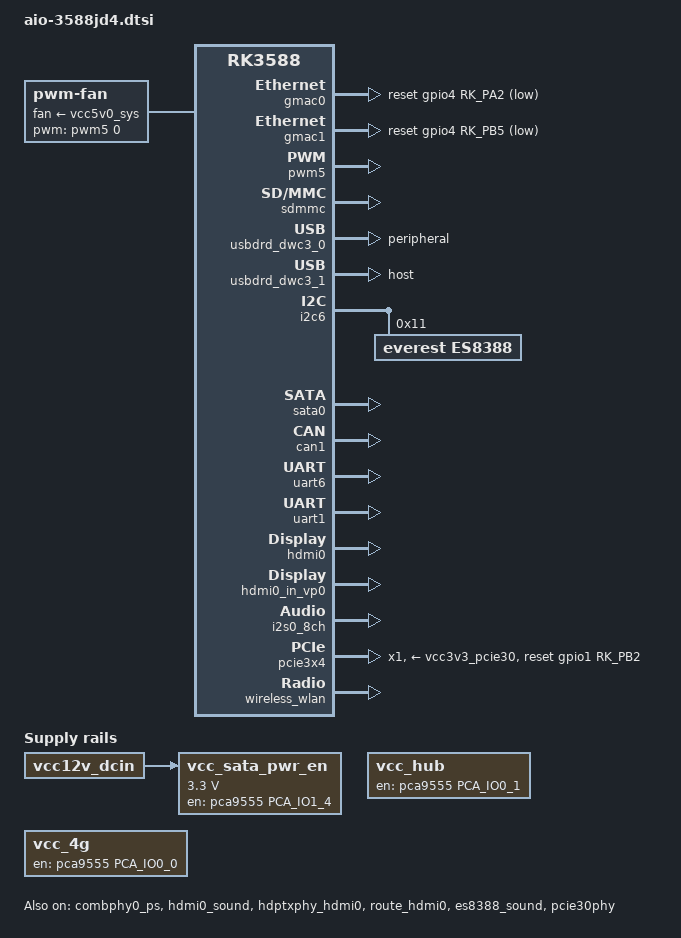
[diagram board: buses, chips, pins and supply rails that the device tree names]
// SPDX-License-Identifier: (GPL-2.0+ OR MIT)
/*
 * Copyright (c) 2021 Rockchip Electronics Co., Ltd.
 *
 */

 #define rk3588
 #include "rk3588-firefly-port-aio-3588jd4.dtsi"
 #include "rk3588-diff-aio-3588jd4.dtsi"


#define M2_SATA_OR_PCIE	1 /*1 = SATA , 0 = PCIe */

 / {
/* led */
	firefly_leds: leds {
		pinctrl-names = "default";
		pinctrl-0 =<&leds_gpio>;
		power_led: power {
			gpios = <&gpio0 RK_PC4 GPIO_ACTIVE_HIGH>;//green led
            default-state = "on";
		};

		user_led: user {
			gpios = <&pca9555 PCA_IO0_3 GPIO_ACTIVE_HIGH>; //yellow led
            default-state = "off";
		};
	};

    fan: pwm-fan {
		compatible = "pwm-fan";
		#cooling-cells = <2>;
		fan-supply = <&vcc5v0_sys>;
		pwms = <&pwm5 0 50000 0>;
		cooling-levels = <0 50 100 150 200 255>;
        rockchip,temp-trips = <
            50000   1
            55000   2
            60000   3
            65000   4
            70000   5
        >;
	};


    vcc_hub: vcc-hub-regulator {
            compatible = "regulator-fixed";
            regulator-name = "vcc_hub";
            regulator-boot-on;
            regulator-always-on;
            enable-active-high;
            status = "okay";
            gpio = <&pca9555 PCA_IO0_1 GPIO_ACTIVE_HIGH>;
    };

	vcc_4g: vcc-4g-regulator {
            compatible = "regulator-fixed";
            regulator-name = "vcc_4g";
            regulator-boot-on;
            regulator-always-on;
            enable-active-high;
            status = "okay";
            gpio = <&pca9555 PCA_IO0_0 GPIO_ACTIVE_HIGH>;
    };
};

/* gamc0 */
&gmac0 {
	snps,reset-gpio = <&gpio4 RK_PA2 GPIO_ACTIVE_LOW>;
	//tx_delay = <0x35>;
	status = "okay";
};

&gmac0_tx_bus2{
    rockchip,pins =
    /* gmac0_txd0 */
    <2 RK_PB6 1 &pcfg_pull_up_drv_level_6>,
    /* gmac0_txd1 */
    <2 RK_PB7 1 &pcfg_pull_up_drv_level_6>,
    /* gmac0_txen */
    <2 RK_PC0 1 &pcfg_pull_none>;
};

&gmac0_rgmii_bus{
	rockchip,pins =
	/* gmac0_rxd2 */
	<2 RK_PA6 1 &pcfg_pull_none>,
	/* gmac0_rxd3 */
	<2 RK_PA7 1 &pcfg_pull_none>,
	/* gmac0_txd2 */
	<2 RK_PB1 1 &pcfg_pull_up_drv_level_6>,
	/* gmac0_txd3 */
	<2 RK_PB2 1 &pcfg_pull_up_drv_level_6>;
};

/* gmac1 */
&gmac1 {
	snps,reset-gpio = <&gpio4 RK_PB5 GPIO_ACTIVE_LOW>;
	tx_delay = <0x45>;
	status = "okay";
};

&gmac1_tx_bus2{
	rockchip,pins =
	/* gmac1_txd0 */
	<3 RK_PB3 1 &pcfg_pull_up_drv_level_6>,
    /* gmac1_txd1 */
	<3 RK_PB4 1 &pcfg_pull_up_drv_level_6>,
	/* gmac1_txen */
	<3 RK_PB5 1 &pcfg_pull_none>;
};

&gmac1_rgmii_bus{
	rockchip,pins =
	/* gmac1_rxd2 */
	<3 RK_PA2 1 &pcfg_pull_none>,
	/* gmac1_rxd3 */
	<3 RK_PA3 1 &pcfg_pull_none>,
	/* gmac1_txd2 */
	<3 RK_PA0 1 &pcfg_pull_up_drv_level_6>,
	/* gmac1_txd3 */
	<3 RK_PA1 1 &pcfg_pull_up_drv_level_6>;
};


&pwm5 {
	pinctrl-0 = <&pwm5m1_pins>;
	status = "okay";
};


/* tf-card */
&sdmmc {
	status = "okay";
};

&vcc_sdcard_pwr_en{
	gpio = <&gpio1 RK_PA7 GPIO_ACTIVE_HIGH>;
	status = "okay";
};

/* usb */
&vcc5v0_host{
	status = "okay";
	gpio = <&pca9555 PCA_IO0_2 GPIO_ACTIVE_HIGH>;
};


//down
&usbdrd_dwc3_0{
	//dr_mode = "host";
	dr_mode = "peripheral";
    status = "okay";
};

//down
&usbdrd_dwc3_1{
	dr_mode = "host";
    status = "okay";
};

/* XL9555*/

&i2c6 {
	/delete-node/ pca9555;
};
/* wdt on mb */
&i2c3 {
	pinctrl-0 = <&i2c3m2_xfer>;
	pc9202@3c {
		status = "disabled";
		compatible = "firefly,pc9202";
		reg = <0x3c>;
		wd-en-gpio = <&gpio0 RK_PC4 GPIO_ACTIVE_HIGH>;
	};
};



#if M2_SATA_OR_PCIE
&sata0 {
    //pinctrl-names = "default";
    //pinctrl-0 = <&sata_reset>;
	status = "okay";
};
#else
&pcie2x1l2 {
	reset-gpios = <&gpio4 RK_PC1 GPIO_ACTIVE_HIGH>;
	vpcie3v3-supply = <&vcc_sata_pwr_en>;
	status = "okay";
};
#endif

&vcc_sata_pwr_en{
	status = "okay";
	gpio = <&pca9555 PCA_IO1_4 GPIO_ACTIVE_HIGH>;  //PCA_IO 14
	regulator-min-microvolt = <3300000>;
	regulator-max-microvolt = <3300000>;
	regulator-always-on;
	enable-active-high;
	startup-delay-us = <5000>;
	vin-supply = <&vcc12v_dcin>;
};

&combphy0_ps{
	status = "okay";
};

/* can1 */
&can1 {
	status = "okay";
	assigned-clocks = <&cru CLK_CAN1>;
	assigned-clock-rates = <200000000>;
	pinctrl-names = "default";
	pinctrl-0 = <&can1m1_pins>;
};

/* RS485 */
&uart6{
	pinctrl-0 = <&uart6m1_xfer>;
	status = "okay";
};

/* RS232 */
&uart1{
	pinctrl-0 = <&uart1m1_xfer>;
	status = "okay";
};


/* hdmi0 */
&hdmi0 {
    enable-gpios = <&gpio1 RK_PB0 GPIO_ACTIVE_HIGH>;
    status = "okay";
};


&hdmi0_sound {
	status = "okay";
};

&hdmi0_in_vp0 {
        status = "okay";
};

&hdptxphy_hdmi0 {
	status = "okay";
};

&route_hdmi0{
	status = "okay";
	connect = <&vp0_out_hdmi0>;
};

/* es8323 audio codec */

&i2c6 {
		status = "okay";
		es8388: es8388@11 {
			status = "okay";
			#sound-dai-cells = <0>;
			compatible = "everest,es8388", "everest,es8323";
			reg = <0x11>;
			clocks = <&mclkout_i2s0>;
			clock-names = "mclk";
			assigned-clocks = <&mclkout_i2s0>;
			assigned-clock-rates = <12288000>;
			pinctrl-names = "default";
			pinctrl-0 = <&i2s0_mclk>;
 	};
};

&es8388_sound{
	status = "okay";
	firefly,not-use-dapm;
	/delete-property/ spk-con-gpio;
	hp-det-gpio = <&gpio2 RK_PC3 GPIO_ACTIVE_HIGH>;
	hp-con-gpio = <&pca9555 PCA_IO1_3 GPIO_ACTIVE_HIGH>;  //PCA_IO 13
	io-channels = <&saradc 6>;
	linein-type = <4>;
	pinctrl-names = "default";
	pinctrl-0 = <&hp_det>;

};

&i2s0_8ch{
	status = "okay";
};



/* wifi*/

&pcie30phy {
	status = "okay";
};


&pcie3x4 {
	num-lanes = <1>;
	reset-gpios = <&gpio1 RK_PB2 GPIO_ACTIVE_HIGH>;
	vpcie3v3-supply = <&vcc3v3_pcie30>;
	status = "okay";
};

&vcc3v3_pcie30{
	gpios = <&pca9555 PCA_IO0_4 GPIO_ACTIVE_HIGH>;
	startup-delay-us = <5000>;
	status = "okay";
};

&wireless_wlan{
        wifi_chip_type = "rtl8822ce";
		/delete-property/ WIFI,poweren_gpio;
		WIFI,host_wake_irq = <&pca9555 PCA_IO1_2 GPIO_ACTIVE_HIGH>;
        status = "okay";
};



/* pinctrl */
&pinctrl {

    leds {
		leds_gpio: leds-gpio {
			/* led_power */
			rockchip,pins = <0 20 RK_FUNC_GPIO &pcfg_pull_none>;
		};
 	};

	headphone {
		hp_det: hp-det {
			rockchip,pins = <2 RK_PC3 RK_FUNC_GPIO &pcfg_pull_none>;
		};
	};

	usb-typec {
		usbc0_int: usbc0-int {
			rockchip,pins = <0 RK_PD3 RK_FUNC_GPIO &pcfg_pull_none>;
		};
	};

	hdmirx {
		hdmirx_det: hdmirx-det {
			rockchip,pins = <1 RK_PD5 RK_FUNC_GPIO &pcfg_pull_none>;
		};
	};

	wireless-bluetooth {
		uart6_gpios: uart6-gpios {
			rockchip,pins = <1 RK_PA2 RK_FUNC_GPIO &pcfg_pull_none>;
		};

		bt_reset_gpio: bt-reset-gpio {
			rockchip,pins = <0 RK_PC6 RK_FUNC_GPIO &pcfg_pull_none>;
		};

		bt_wake_gpio: bt-wake-gpio {
			rockchip,pins = <0 RK_PC5 RK_FUNC_GPIO &pcfg_pull_none>;
		};

		bt_irq_gpio: bt-irq-gpio {
			rockchip,pins = <0 RK_PA0 RK_FUNC_GPIO &pcfg_pull_none>;
		};
	};

	wireless-wlan {
		wifi_host_wake_irq: wifi-host-wake-irq {
			rockchip,pins = <0 RK_PB2 RK_FUNC_GPIO &pcfg_pull_none>;
		};

		wifi_poweren_gpio: wifi-poweren-gpio {
			rockchip,pins = <0 RK_PC4 RK_FUNC_GPIO &pcfg_pull_none>;
		};
	};

	sata {
		sata_reset:sata-reset{
			rockchip,pins = <4 RK_PC1 RK_FUNC_GPIO &pcfg_pull_none>;
		};
	};

};
